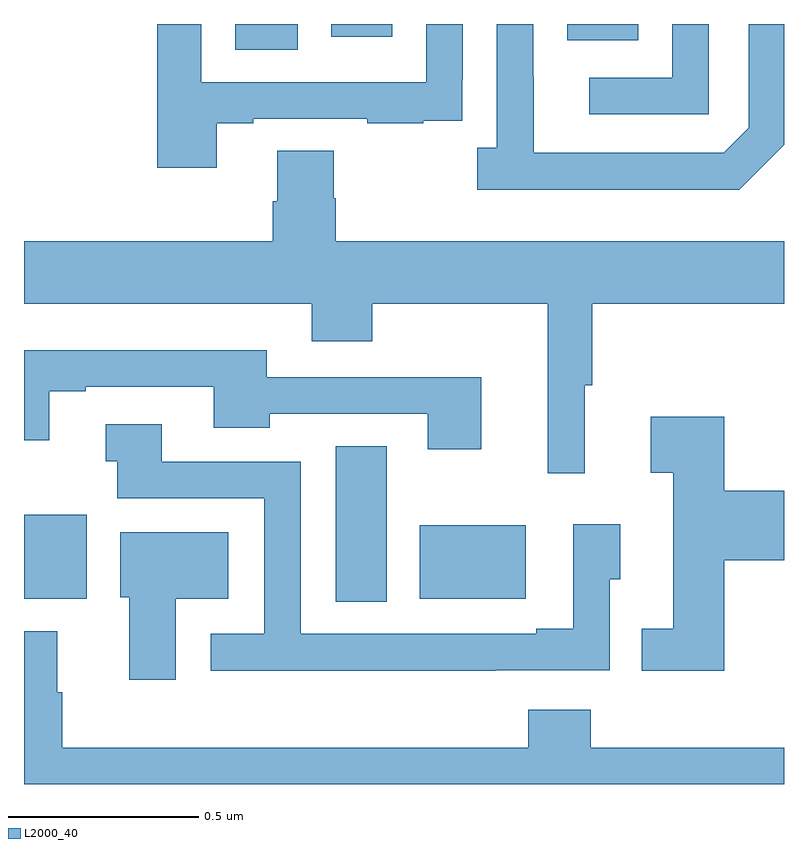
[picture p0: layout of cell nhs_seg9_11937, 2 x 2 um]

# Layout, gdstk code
import gdstk
lib = gdstk.Library(unit=1e-6, precision=1e-09)
def R(c, l, rs):  # rectangles x0, y0, x1, y1
    for r in rs: c.add(gdstk.rectangle(r[:2], r[2:], *l))
def P(c, l, *ps):  # polygons
    for p in ps: c.add(gdstk.Polygon(p, *l))
L2000_40 = (2000, 40)

nhs_seg9_11937 = lib.new_cell('nhs_seg9_11937')
R(nhs_seg9_11937, L2000_40, [(262.82,1184.98,262.954,1185.389), (262,1184.987,262.165,1185.208), (263.042,1184.987,263.32,1185.181), (262.556,1186.432,262.72,1186.5), (263.429,1186.457,263.617,1186.5), (262.808,1186.467,262.969,1186.5)])
P(nhs_seg9_11937, L2000_40, [(263.802,1186.5),(263.706,1186.5),(263.706,1186.359),(263.487,1186.359),(263.487,1186.263),(263.802,1186.263)],
  [(262.507,1186.239),(262.603,1186.239),(262.603,1186.251),(262.903,1186.251),(262.903,1186.239),(263.051,1186.239),(263.051,1186.245),(263.153,1186.245),(263.153,1186.354),(263.154,1186.354),(263.154,1186.5),(263.058,1186.5),(263.058,1186.347),(262.467,1186.347),(262.467,1186.5),(262.351,1186.5),(262.351,1186.122),(262.507,1186.122)],
  [(264,1186.182),(264,1186.5),(263.907,1186.5),(263.907,1186.227),(263.841,1186.161),(263.341,1186.161),(263.341,1186.361),(263.34,1186.361),(263.34,1186.5),(263.244,1186.5),(263.244,1186.174),(263.193,1186.174),(263.193,1186.064),(263.882,1186.064)],
  [(263.476,1185.549),(263.495,1185.549),(263.495,1185.764),(264,1185.764),(264,1185.928),(262.82,1185.928),(262.82,1186.041),(262.815,1186.041),(262.815,1186.166),(262.667,1186.166),(262.667,1186.034),(262.655,1186.034),(262.655,1185.928),(262,1185.928),(262,1185.764),(262.757,1185.764),(262.757,1185.665),(262.917,1185.665),(262.917,1185.764),(263.378,1185.764),(263.378,1185.318),(263.476,1185.318)],
  [(263.203,1185.57),(262.639,1185.57),(262.639,1185.642),(262,1185.642),(262,1185.405),(262.066,1185.405),(262.066,1185.534),(262.162,1185.534),(262.162,1185.546),(262.499,1185.546),(262.499,1185.437),(262.647,1185.437),(262.647,1185.474),(263.063,1185.474),(263.063,1185.381),(263.203,1185.381)],
  [(263.843,1185.089),(264,1185.089),(264,1185.272),(263.843,1185.272),(263.843,1185.466),(263.649,1185.466),(263.649,1185.319),(263.708,1185.319),(263.708,1184.908),(263.626,1184.908),(263.626,1184.798),(263.843,1184.798)],
  [(263.243,1184.799),(263.541,1184.799),(263.541,1185.039),(263.569,1185.039),(263.569,1185.184),(263.445,1185.184),(263.445,1184.908),(263.348,1184.908),(263.348,1184.895),(262.728,1184.895),(262.728,1185.348),(262.363,1185.348),(262.363,1185.447),(262.215,1185.447),(262.215,1185.35),(262.246,1185.35),(262.246,1185.252),(262.632,1185.252),(262.632,1184.895),(262.491,1184.895),(262.491,1184.798),(263.243,1184.798)],
  [(262.399,1184.987),(262.537,1184.987),(262.537,1185.163),(262.253,1185.163),(262.253,1184.991),(262.277,1184.991),(262.277,1184.775),(262.399,1184.775)],
  [(264,1184.596),(263.492,1184.596),(263.492,1184.695),(263.327,1184.695),(263.327,1184.596),(262.1,1184.596),(262.1,1184.741),(262.087,1184.741),(262.087,1184.902),(262,1184.902),(262,1184.5),(264,1184.5)])

lib.write_gds('nhs_seg9_11937.gds')
